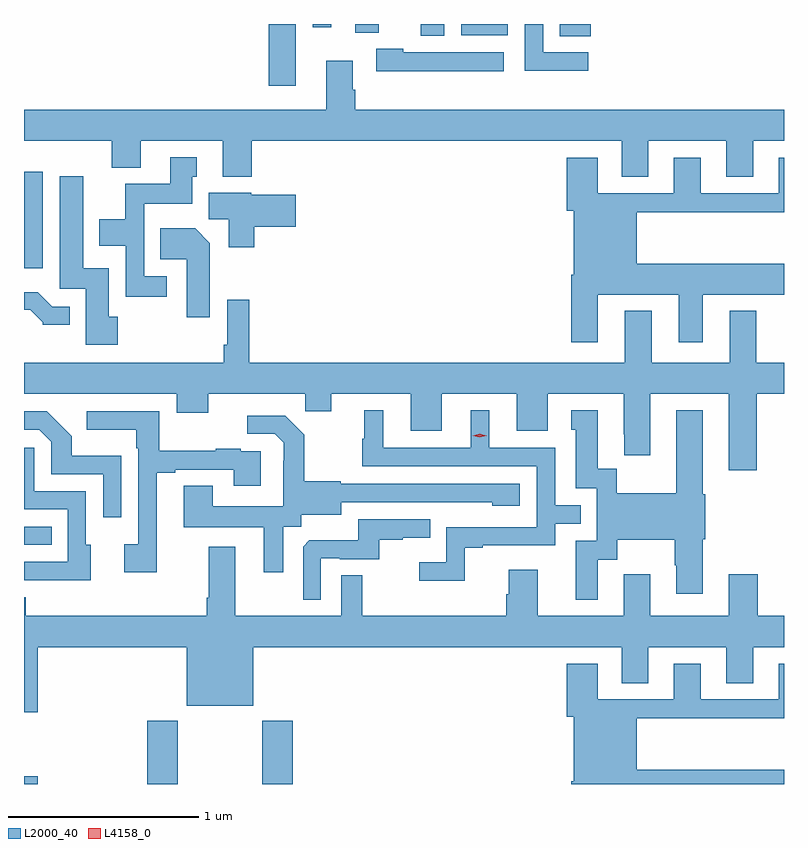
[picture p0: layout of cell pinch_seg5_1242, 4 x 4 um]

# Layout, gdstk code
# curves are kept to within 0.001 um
import gdstk
lib = gdstk.Library(unit=1e-6, precision=1e-09)
def R(c, l, rs):  # rectangles x0, y0, x1, y1
    for r in rs: c.add(gdstk.rectangle(r[:2], r[2:], *l))
def P(c, l, *ps):  # polygons
    for p in ps: c.add(gdstk.Polygon(p, *l))
L2000_40 = (2000, 40)
L4158_0 = (4158, 0)

pinch_seg5_1242 = lib.new_cell('pinch_seg5_1242')
R(pinch_seg5_1242, L2000_40, [(483.076,834.727,483.149,834.769), (483.725,834.727,483.885,835.06), (484.33,834.727,484.49,835.06), (483.076,835.986,483.221,836.082), (483.076,837.441,483.175,837.949), (484.364,838.401,484.507,838.727), (485.897,838.663,486.058,838.727), (485.165,838.664,485.287,838.727), (485.376,838.668,485.623,838.727), (484.82,838.682,484.942,838.727), (484.596,838.71,484.692,838.727)])
P(pinch_seg5_1242, L2000_40, [(486.046,838.578),(485.808,838.578),(485.808,838.727),(485.712,838.727),(485.712,838.481),(486.046,838.481)],
  [(485.602,838.579),(485.073,838.579),(485.073,838.597),(484.929,838.597),(484.929,838.478),(485.602,838.478)],
  [(484.82,838.382),(484.807,838.382),(484.807,838.534),(484.667,838.534),(484.667,838.276),(483.076,838.276),(483.076,838.112),(483.539,838.112),(483.539,837.971),(483.691,837.971),(483.691,838.112),(484.121,838.112),(484.121,837.923),(484.274,837.923),(484.274,838.112),(486.221,838.112),(486.221,837.922),(486.361,837.922),(486.361,838.112),(486.773,838.112),(486.773,837.922),(486.913,837.922),(486.913,838.112),(487.076,838.112),(487.076,838.276),(484.82,838.276)],
  [(483.826,837.399),(483.708,837.399),(483.708,837.782),(483.961,837.782),(483.961,837.924),(483.985,837.924),(483.985,838.027),(483.845,838.027),(483.845,837.886),(483.61,837.886),(483.61,837.7),(483.473,837.7),(483.473,837.56),(483.612,837.56),(483.612,837.291),(483.826,837.291)],
  [(486.097,837.302),(486.521,837.302),(486.521,837.051),(486.649,837.051),(486.649,837.302),(487.076,837.302),(487.076,837.466),(486.301,837.466),(486.301,837.736),(487.076,837.736),(487.076,838.024),(487.049,838.024),(487.049,837.837),(486.637,837.837),(486.637,838.024),(486.497,838.024),(486.497,837.837),(486.097,837.837),(486.097,838.024),(485.933,838.024),(485.933,837.744),(485.969,837.744),(485.969,837.406),(485.957,837.406),(485.957,837.051),(486.097,837.051)],
  [(483.57,837.186),(483.523,837.186),(483.523,837.442),(483.388,837.442),(483.388,837.925),(483.263,837.925),(483.263,837.333),(483.401,837.333),(483.401,837.038),(483.57,837.038)],
  [(484.289,837.659),(484.507,837.659),(484.507,837.829),(484.272,837.829),(484.272,837.838),(484.049,837.838),(484.049,837.7),(484.154,837.7),(484.154,837.552),(484.289,837.552)],
  [(484.054,837.574),(483.976,837.652),(483.793,837.652),(483.793,837.488),(483.932,837.488),(483.932,837.183),(484.054,837.183)],
  [(483.316,837.24),(483.225,837.24),(483.149,837.316),(483.076,837.316),(483.076,837.222),(483.11,837.222),(483.174,837.158),(483.174,837.143),(483.316,837.143)],
  [(486.933,836.78),(487.076,836.78),(487.076,836.944),(486.931,836.944),(486.931,837.217),(486.791,837.217),(486.791,836.944),(486.379,836.944),(486.379,837.217),(486.239,837.217),(486.239,836.944),(484.262,836.944),(484.262,837.277),(484.146,837.277),(484.146,837.04),(484.126,837.04),(484.126,836.944),(483.076,836.944),(483.076,836.78),(483.881,836.78),(483.881,836.681),(484.045,836.681),(484.045,836.78),(484.555,836.78),(484.555,836.69),(484.693,836.69),(484.693,836.78),(485.111,836.78),(485.111,836.586),(485.275,836.586),(485.275,836.78),(485.669,836.78),(485.669,836.586),(485.833,836.586),(485.833,836.78),(486.233,836.78),(486.233,836.569),(486.236,836.569),(486.236,836.457),(486.373,836.457),(486.373,836.78),(486.785,836.78),(486.785,836.379),(486.933,836.379)],
  [(486.097,835.906),(486.199,835.906),(486.199,836.012),(486.502,836.012),(486.502,835.878),(486.509,835.878),(486.509,835.728),(486.649,835.728),(486.649,836.016),(486.662,836.016),(486.662,836.253),(486.649,836.253),(486.649,836.695),(486.509,836.695),(486.509,836.257),(486.195,836.257),(486.195,836.387),(486.097,836.387),(486.097,836.695),(485.957,836.695),(485.957,836.592),(485.981,836.592),(485.981,836.283),(486.09,836.283),(486.09,836.007),(485.981,836.007),(485.981,835.698),(486.097,835.698)],
  [(485.397,835.971),(485.491,835.971),(485.491,835.983),(485.871,835.983),(485.871,836.097),(486.005,836.097),(486.005,836.193),(485.871,836.193),(485.871,836.496),(485.524,836.496),(485.524,836.695),(485.426,836.695),(485.426,836.496),(484.966,836.496),(484.966,836.695),(484.868,836.695),(484.868,836.544),(484.857,836.544),(484.857,836.4),(485.775,836.4),(485.775,836.079),(485.298,836.079),(485.298,835.894),(485.157,835.894),(485.157,835.796),(485.397,835.796)],
  [(483.775,836.364),(483.871,836.364),(483.871,836.382),(484.181,836.382),(484.181,836.298),(484.321,836.298),(484.321,836.478),(484.217,836.478),(484.217,836.491),(484.085,836.491),(484.085,836.48),(483.787,836.48),(483.787,836.688),(483.405,836.688),(483.405,836.591),(483.666,836.591),(483.666,836.495),(483.678,836.495),(483.678,835.99),(483.603,835.99),(483.603,835.842),(483.775,835.842)],
  [(483.588,836.455),(483.327,836.455),(483.327,836.558),(483.196,836.688),(483.076,836.688),(483.076,836.592),(483.156,836.592),(483.219,836.529),(483.219,836.358),(483.492,836.358),(483.492,836.13),(483.588,836.13)],
  [(484.441,836.08),(484.536,836.08),(484.536,836.144),(484.747,836.144),(484.747,836.211),(485.541,836.21),(485.541,836.192),(485.686,836.192),(485.686,836.307),(484.743,836.307),(484.743,836.32),(484.551,836.32),(484.551,836.565),(484.451,836.665),(484.251,836.665),(484.251,836.571),(484.395,836.571),(484.442,836.524),(484.442,836.429),(484.44,836.429),(484.44,836.188),(484.069,836.188),(484.069,836.297),(483.917,836.297),(483.917,836.078),(484.337,836.078),(484.337,835.842),(484.441,835.842)],
  [(483.427,835.986),(483.402,835.986),(483.402,836.268),(483.129,836.268),(483.129,836.497),(483.076,836.497),(483.076,836.172),(483.306,836.172),(483.306,835.896),(483.076,835.896),(483.076,835.8),(483.209,835.8),(483.209,835.799),(483.427,835.799)],
  [(484.638,835.914),(484.738,835.914),(484.738,835.911),(484.946,835.911),(484.946,836.013),(485.069,836.013),(485.069,836.024),(485.213,836.024),(485.213,836.121),(484.836,836.121),(484.836,836.009),(484.577,836.009),(484.545,835.977),(484.545,835.697),(484.638,835.697)],
  [(486.373,835.831),(486.233,835.831),(486.233,835.612),(485.779,835.612),(485.779,835.855),(485.627,835.855),(485.627,835.725),(485.615,835.725),(485.615,835.612),(484.855,835.612),(484.855,835.826),(484.746,835.826),(484.746,835.612),(484.189,835.612),(484.189,835.975),(484.049,835.975),(484.049,835.708),(484.037,835.708),(484.037,835.612),(483.085,835.612),(483.085,835.711),(483.076,835.711),(483.076,835.104),(483.149,835.104),(483.149,835.448),(483.932,835.448),(483.932,835.139),(484.282,835.139),(484.282,835.448),(486.221,835.448),(486.221,835.258),(486.361,835.258),(486.361,835.448),(486.773,835.448),(486.773,835.258),(486.913,835.258),(486.913,835.448),(487.076,835.448),(487.076,835.612),(486.938,835.612),(486.938,835.831),(486.785,835.831),(486.785,835.612),(486.373,835.612)],
  [(487.076,834.802),(486.301,834.802),(486.301,835.072),(487.076,835.072),(487.076,835.36),(487.049,835.36),(487.049,835.173),(486.637,835.173),(486.637,835.36),(486.497,835.36),(486.497,835.173),(486.097,835.173),(486.097,835.36),(485.933,835.36),(485.933,835.08),(485.969,835.08),(485.969,834.742),(485.957,834.742),(485.957,834.727),(487.076,834.727)])
P(pinch_seg5_1242, L4158_0, [(485.475,836.551),(485.439,836.56),(485.439,836.561),(485.439,836.561),(485.475,836.571),(485.51,836.561),(485.511,836.561),(485.51,836.56)])

lib.write_gds('pinch_seg5_1242.gds')
